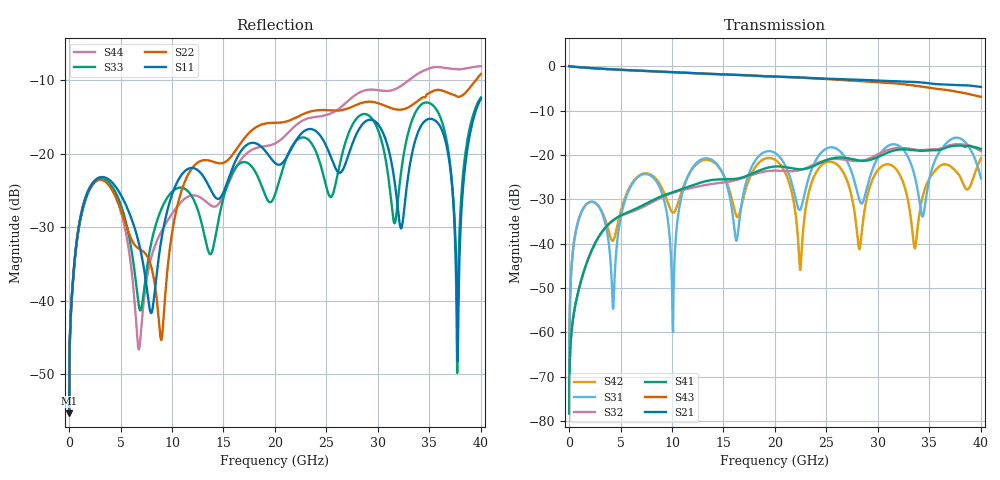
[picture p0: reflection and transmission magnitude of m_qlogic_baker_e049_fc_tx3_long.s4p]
! freq	real(S11)	imag(S11)	real(S12)	imag(S12)	real(S13)	imag(S13)
!  real(S14)	imag(S14)
!  real(S21)	imag(S21)	real(S22)	imag(S22)	real(S23)	imag(S23)
!  real(S24)	imag(S24)
!  real(S31)	imag(S31)	real(S32)	imag(S32)	real(S33)	imag(S33)
!  real(S34)	imag(S34)
!  real(S41)	imag(S41)	real(S42)	imag(S42)	real(S43)	imag(S43)
!  real(S44)	imag(S44)
!port1: p1  port2: p2  port3: p3  port4: p4
#  MHz  S  RI  R 50
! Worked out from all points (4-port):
!   8000 points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, 5 MHz to 40 GHz, reference 50 ohm
!   strongest paths, dB at 5 MHz, 10.01 GHz, 20 GHz, 30 GHz, 40 GHz:
!     S21: 0.0, -1.3, -2.4, -3.3, -4.7
!     S43: 0.0, -1.4, -2.4, -3.6, -6.9
!     S41: -78.2, -28.4, -22.6, -20.5, -18.7
!     S32: -78.2, -28.6, -23.5, -19.9, -19.1
!     S31: -73.3, -50.4, -19.6, -20.6, -25.3
!     S42: -73.4, -32.9, -21.1, -23.4, -20.7
!   lowest |S11| = -55.3 dB at 5 MHz (marker M1), VSWR 1.00, Z = 50.2 + j0.00578 ohm
!   |S11| at or under -10 dB: start of sweep to end of sweep
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5  0.00172 5.76e-05  0.9982 -0.00329  0.000213 2.88e-05  -0.000123 -1.09e-05
   0.9982 -0.00329  0.00172 5.67e-05  -0.000122 -1.09e-05  0.000213 2.88e-05
   0.000213 2.88e-05  -0.000123 -1.09e-05  0.00172 5.95e-05  0.9982 -0.0033
   -0.000123 -1.09e-05  0.000213 2.88e-05  0.9982 -0.0033  0.00172 5.86e-05
5435  -0.0429 0.0171  -0.8989 -0.0932  -0.00409 0.0305  -0.000387 0.0219
      -0.8989 -0.0932  0.0142 0.0312  0.000147 0.0215  0.00795 0.0321
      -0.00409 0.0305  0.000147 0.0215  -0.0313 0.0181  -0.8995 -0.0871
      -0.000387 0.0219  0.00795 0.0321  -0.8995 -0.0871  0.00288 0.0308
11260  -0.0714 -0.0271  0.8411 0.0386  -0.0037 0.0471  -0.000596 -0.0424
       0.8411 0.0386  0.0628 -0.0162  -0.00137 -0.0408  0.0227 0.0429
       -0.0037 0.0471  -0.00137 -0.0408  -0.0576 -0.00244  0.8414 0.0272
       -0.000596 -0.0424  0.0227 0.0429  0.8414 0.0272  0.047 0.0156
16815  -0.0293 -0.1028  -0.7832 -0.12  0.00364 0.0306  -0.00403 0.0556
       -0.7832 -0.12  0.0519 -0.1102  -0.00734 0.0541  0.0191 0.0215
       0.00364 0.0306  -0.00734 0.0541  -0.0571 -0.0661  -0.7856 -0.1009
       -0.00403 0.0556  0.0191 0.0215  -0.7856 -0.1009  0.0785 -0.0503
22775  0.0207 -0.1399  0.7416 0.0326  0.0214 0.0246  -0.00611 -0.0689
       0.7416 0.0326  -0.0289 -0.1842  0.00444 -0.0693  0.00564 0.0149
       0.0214 0.0246  0.00444 -0.0693  -0.0432 -0.1216  0.7378 -0.00206
       -0.00611 -0.0689  0.00564 0.0149  0.7378 -0.00206  0.0609 -0.1579
37755  0.000484 0.0041  -0.2094 -0.5736  0.141 -0.0673  -0.1061 0.0706
       -0.2094 -0.5736  -0.1604 -0.1838  -0.1075 0.0765  0.0401 0.0472
       0.141 -0.0673  -0.1075 0.0765  0.00839 0.00115  -0.223 -0.4621
       -0.1061 0.0706  0.0401 0.0472  -0.223 -0.4621  -0.3431 -0.1512
40000  0.0333 -0.234  -0.5819 0.0352  0.00729 -0.0539  0.04 0.1097
       -0.5819 0.0352  -0.2084 -0.2787  0.0484 0.0993  -0.0155 0.0908
       0.00729 -0.0539  0.0484 0.0993  0.0353 -0.2385  -0.4494 0.0416
       0.04 0.1097  -0.0155 0.0908  -0.4494 0.0416  -0.3925 -0.0322
